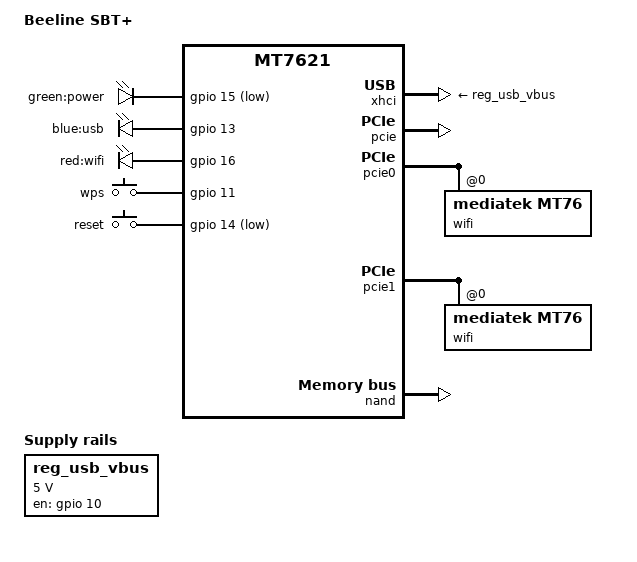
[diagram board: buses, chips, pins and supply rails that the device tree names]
// SPDX-License-Identifier: GPL-2.0-only

#include "mt7621.dtsi"

#include <dt-bindings/gpio/gpio.h>
#include <dt-bindings/input/input.h>

/ {
        compatible = "beeline,sbtplus", "mediatek,mt7621-soc";
        model = "Beeline SBT+";

	aliases {
		led-boot = &led_power;
		led-failsafe = &led_power;
		led-running = &led_power;
		led-upgrade = &led_power;
		label-mac-device = &gmac0;
	};

	leds {
		compatible = "gpio-leds";

		led_power: power {
			label = "green:power";
                        gpios = <&gpio 15 GPIO_ACTIVE_LOW>;
		};

		usb {
                        label = "blue:usb";
                        gpios = <&gpio 13 GPIO_ACTIVE_HIGH>;
			trigger-sources = <&xhci_ehci_port1>, <&ehci_port2>;
			linux,default-trigger = "usbport";
		};

		wifi {
                        label = "red:wifi";
                        gpios = <&gpio 16 GPIO_ACTIVE_HIGH>;
		};
	};

	keys {
		compatible = "gpio-keys";

		wps {
			label = "wps";
                        gpios = <&gpio 11 GPIO_ACTIVE_HIGH>;
			linux,code = <KEY_WPS_BUTTON>;
		};

		reset {
			label = "reset";
			gpios = <&gpio 14 GPIO_ACTIVE_LOW>;
			linux,code = <KEY_RESTART>;
		};
	};

	reg_usb_vbus: regulator {
		compatible = "regulator-fixed";
		regulator-name = "usb_vbus";
		regulator-min-microvolt = <5000000>;
		regulator-max-microvolt = <5000000>;
		gpio = <&gpio 10 GPIO_ACTIVE_HIGH>;
		enable-active-high;
	};
};

&xhci {
	vbus-supply = <&reg_usb_vbus>;
};

&pcie {
	status = "okay";
};


&pcie0 {
	wifi@0,0 {
		compatible = "mediatek,mt76";
		reg = <0x0 0 0 0 0>;
		mediatek,mtd-eeprom = <&factory 0x8000>;
		ieee80211-freq-limit = <5000000 6000000>;
	};
};

&pcie1 {
	wifi@0,0 {
		compatible = "mediatek,mt76";
		reg = <0x0 0 0 0 0>;
		mediatek,mtd-eeprom = <&factory 0x0>;
		ieee80211-freq-limit = <2400000 2500000>;
	};
};

&gmac0 {
	nvmem-cells = <&macaddr_factory_21000>;
	nvmem-cell-names = "mac-address";
};

&switch0 {
	ports {
                port@0 {
                        status = "okay";
                        label = "wan";
                        nvmem-cells = <&macaddr_factory_21000>;
                        nvmem-cell-names = "mac-address";
                        mac-address-increment = <2>;
                };

		port@1 {
			status = "okay";
			label = "lan1";
		};

		port@2 {
			status = "okay";
			label = "lan2";
		};

		port@3 {
			status = "okay";
			label = "lan3";
		};

		port@4 {
			status = "okay";
			label = "lan4";
		};
	};
};

&state_default {
	gpio {
		groups = "uart2", "jtag", "wdt";
		function = "gpio";
	};
};

&nand {
	status = "okay";

	partitions {
		compatible = "fixed-partitions";
		#address-cells = <1>;
		#size-cells = <1>;

                partition@0 {
                        label = "u-boot";
                        reg = <0x0 0x100000>;
                        read-only;
                };

                partition@100000 {
                        label = "SC PART_MAP";
                        reg = <0x100000 0x100000>;
                        read-only;
                };

                partition@200000 {
                        label = "kernel";
                        reg = <0x200000 0x400000>;
                };

                partition@600000 {
                        label = "ubi";
                        reg = <0x600000 0x7800000>;
                };

                factory: partition@7e00000 {
                        label = "factory";
                        reg = <0x7e00000 0x100000>;
                        read-only;
                };
	};
};

&factory {
	compatible = "nvmem-cells";
	#address-cells = <1>;
	#size-cells = <1>;

	macaddr_factory_21000: macaddr@21000 {
		reg = <0x21000 0x6>;
	};
};
